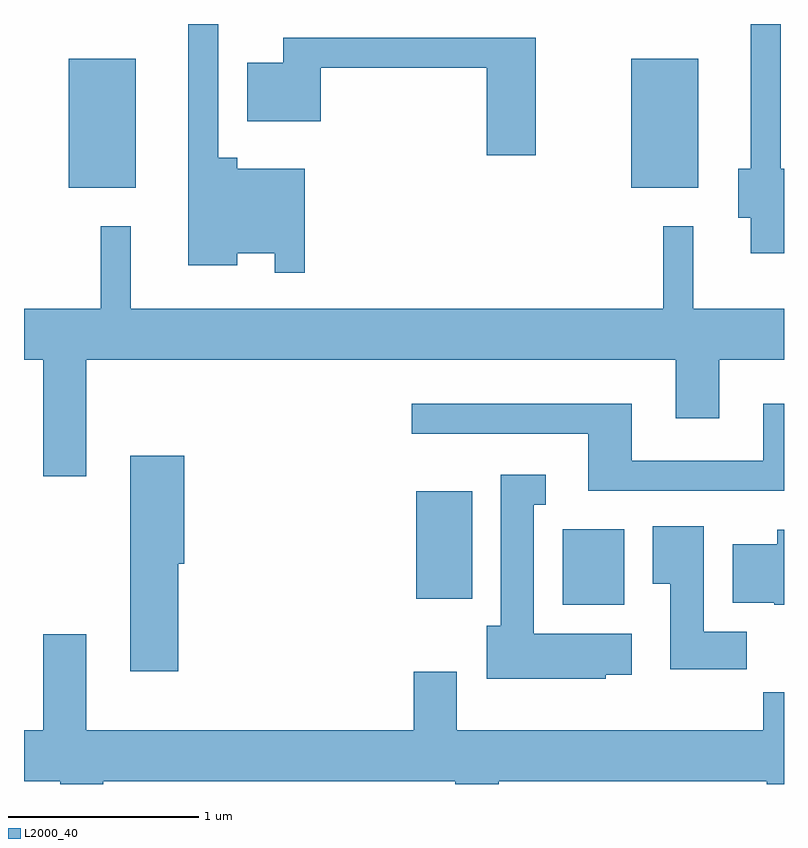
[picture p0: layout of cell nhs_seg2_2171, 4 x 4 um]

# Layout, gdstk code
import gdstk
lib = gdstk.Library(unit=1e-6, precision=1e-09)
def R(c, l, rs):  # rectangles x0, y0, x1, y1
    for r in rs: c.add(gdstk.rectangle(r[:2], r[2:], *l))
def P(c, l, *ps):  # polygons
    for p in ps: c.add(gdstk.Polygon(p, *l))
L2000_40 = (2000, 40)

nhs_seg2_2171 = lib.new_cell('nhs_seg2_2171')
R(nhs_seg2_2171, L2000_40, [(250.446,1104.746,250.769,1105.144), (249.676,1104.776,249.969,1105.344), (247.846,1106.941,248.199,1107.619), (250.806,1106.941,251.159,1107.619)])
P(nhs_seg2_2171, L2000_40, [(249.089,1107.039),(248.734,1107.039),(248.734,1107.099),(248.634,1107.099),(248.634,1107.802),(248.476,1107.802),(248.476,1106.531),(248.734,1106.531),(248.734,1106.596),(248.931,1106.596),(248.931,1106.493),(249.089,1106.493)],
  [(251.611,1107.039),(251.594,1107.039),(251.594,1107.802),(251.436,1107.802),(251.436,1107.039),(251.371,1107.039),(251.371,1106.781),(251.436,1106.781),(251.436,1106.596),(251.611,1106.596)],
  [(250.304,1107.729),(248.976,1107.729),(248.976,1107.599),(248.786,1107.599),(248.786,1107.291),(249.174,1107.291),(249.174,1107.571),(250.046,1107.571),(250.046,1107.111),(250.304,1107.111)],
  [(247.939,1106.036),(251.041,1106.036),(251.041,1105.726),(251.269,1105.726),(251.269,1106.036),(251.611,1106.036),(251.611,1106.304),(251.134,1106.304),(251.134,1106.738),(250.976,1106.738),(250.976,1106.304),(248.174,1106.304),(248.174,1106.738),(248.016,1106.738),(248.016,1106.304),(247.611,1106.304),(247.611,1106.036),(247.711,1106.036),(247.711,1105.421),(247.939,1105.421)],
  [(251.611,1105.804),(251.501,1105.804),(251.501,1105.504),(250.809,1105.504),(250.809,1105.804),(249.653,1105.804),(249.653,1105.646),(250.581,1105.646),(250.581,1105.346),(251.611,1105.346)],
  [(248.424,1104.961),(248.454,1104.961),(248.454,1105.529),(248.171,1105.529),(248.171,1104.396),(248.424,1104.396)],
  [(250.674,1104.376),(250.809,1104.376),(250.809,1104.594),(250.294,1104.594),(250.294,1105.271),(250.358,1105.271),(250.358,1105.429),(250.121,1105.429),(250.121,1104.634),(250.046,1104.634),(250.046,1104.356),(250.674,1104.356)],
  [(251.414,1104.604),(251.189,1104.604),(251.189,1105.159),(250.921,1105.159),(250.921,1104.856),(251.011,1104.856),(251.011,1104.406),(251.414,1104.406)],
  [(251.611,1105.139),(251.576,1105.139),(251.576,1105.064),(251.341,1105.064),(251.341,1104.756),(251.56,1104.756),(251.56,1104.746),(251.611,1104.746)],
  [(248.029,1103.816),(249.881,1103.816),(249.881,1103.802),(250.109,1103.802),(250.109,1103.816),(251.521,1103.816),(251.521,1103.802),(251.611,1103.802),(251.611,1104.284),(251.501,1104.284),(251.501,1104.084),(249.889,1104.084),(249.889,1104.394),(249.661,1104.394),(249.661,1104.084),(247.939,1104.084),(247.939,1104.589),(247.711,1104.589),(247.711,1104.084),(247.611,1104.084),(247.611,1103.816),(247.801,1103.816),(247.801,1103.802),(248.029,1103.802)])

lib.write_gds('nhs_seg2_2171.gds')
